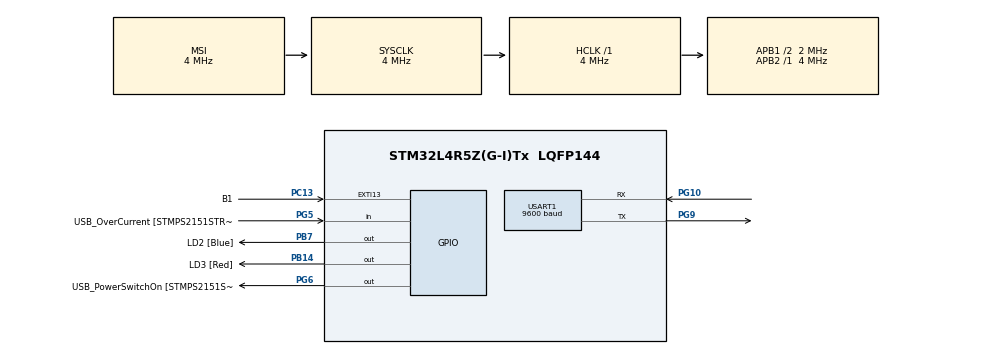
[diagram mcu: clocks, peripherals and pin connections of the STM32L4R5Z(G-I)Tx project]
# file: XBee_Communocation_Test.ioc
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Mcu.Family=STM32L4
Mcu.Name=STM32L4R5Z(G-I)Tx
Mcu.Package=LQFP144
NVIC.PriorityGroup=NVIC_PRIORITYGROUP_4
PA10.GPIO_Label=USB_ID
PA10.Signal=USB_OTG_FS_ID
PA11.GPIO_Label=USB_DM
PA11.Signal=USB_OTG_FS_DM
PA12.GPIO_Label=USB_DP
PA12.Signal=USB_OTG_FS_DP
PA13\ (JTMS/SWDIO).GPIO_Label=TMS
PA13\ (JTMS/SWDIO).Mode=Trace_Asynchronous_SW
PA13\ (JTMS/SWDIO).Signal=SYS_JTMS-SWDIO
PA14\ (JTCK/SWCLK).GPIO_Label=TCK
PA14\ (JTCK/SWCLK).Mode=Trace_Asynchronous_SW
PA14\ (JTCK/SWCLK).Signal=SYS_JTCK-SWCLK
PA8.GPIO_Label=USB_SOF [TP1]
PA8.Signal=USB_OTG_FS_SOF
PA9.GPIO_Label=USB_VBUS
PA9.Signal=USB_OTG_FS_VBUS
PB14.GPIO_Label=LD3 [Red]
PB14.Signal=GPIO_Output
PB3\ (JTDO/TRACESWO).GPIO_Label=SWO
PB3\ (JTDO/TRACESWO).Mode=Trace_Asynchronous_SW
PB3\ (JTDO/TRACESWO).Signal=SYS_JTDO-SWO
PB7.GPIO_Label=LD2 [Blue]
PB7.Signal=GPIO_Output
PC13.GPIO_Label=B1
PC13.Signal=GPXTI13
PC14-OSC32_IN\ (PC14).Mode=LSE-External-Oscillator
PC14-OSC32_IN\ (PC14).Signal=RCC_OSC32_IN
PC15-OSC32_OUT\ (PC15).Mode=LSE-External-Oscillator
PC15-OSC32_OUT\ (PC15).Signal=RCC_OSC32_OUT
PD8.GPIO_Label=STLK_RX [STM32F103CBT6_PA3]
PD8.Signal=USART3_TX
PD9.GPIO_Label=STLK_TX [STM32F103CBT6_PA2]
PD9.Signal=USART3_RX
PG10.Mode=Asynchronous
PG10.Signal=USART1_RX
PG5.GPIO_Label=USB_OverCurrent [STMPS2151STR_FAULT]
PG5.Signal=GPIO_Input
PG6.GPIO_Label=USB_PowerSwitchOn [STMPS2151STR_En]
PG6.Signal=GPIO_Output
PG7.GPIO_Label=STLINK_TX
PG7.Signal=LPUART1_TX
PG8.GPIO_Label=STLINK_RX
PG8.Signal=LPUART1_RX
PG9.Mode=Asynchronous
PG9.Signal=USART1_TX
PH0-OSC_IN\ (PH0).Mode=HSE-External-Clock-Source
PH0-OSC_IN\ (PH0).Signal=RCC_OSC_IN
PH1-OSC_OUT\ (PH1).Signal=RCC_OSC_OUT
ProjectManager.HeapSize=0x200
ProjectManager.StackSize=0x400
ProjectManager.TargetToolchain=STM32CubeIDE
RCC.48MHZClocksFreq_Value=24000000
RCC.AHBFreq_Value=4000000
RCC.APB1CLKDivider=RCC_HCLK_DIV2
RCC.APB1Freq_Value=2000000
RCC.APB1TimFreq_Value=4000000
RCC.APB2Freq_Value=4000000
RCC.APB2TimFreq_Value=4000000
RCC.CortexFreq_Value=4000000
RCC.HCLKFreq_Value=4000000
RCC.HSE_VALUE=8000000
RCC.HSI48_VALUE=48000000
RCC.HSI_VALUE=16000000
RCC.MSI_VALUE=4000000
RCC.PLLMUL=RCC_PLL_MUL9
RCC.PRESCALERUSB=RCC_USBCLKSOURCE_PLL_DIV1_5
RCC.SYSCLKFreq_VALUE=4000000
RCC.SYSCLKSourceVirtual=RCC_SYSCLKSOURCE_PLLCLK
RCC.USBFreq_Value=16000000
RCC.VCOOutputFreq_Value=32000000
USART1.BaudRate=9600
USART1.Mode=MODE_TX_RX
USART1.VirtualMode-Asynchronous=VM_ASYNC
board=NUCLEO-L4R5ZI

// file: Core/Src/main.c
/* USER CODE BEGIN Header */
/**
  ******************************************************************************
  * @file           : main.c
  * @brief          : Main program body
  ******************************************************************************
  * @attention
  *
  * Copyright (c) 2024 STMicroelectronics.
  * All rights reserved.
  *
  * This software is licensed under terms that can be found in the LICENSE file
  * in the root directory of this software component.
  * If no LICENSE file comes with this software, it is provided AS-IS.
  *
  ******************************************************************************
  */
/* USER CODE END Header */
#include "main.h"

UART_HandleTypeDef huart1;

void SystemClock_Config(void);
static void MX_GPIO_Init(void);
static void MX_USART1_UART_Init(void);

int main(void)
{

  /* MCU Configuration--------------------------------------------------------*/

  /* Reset of all peripherals, Initializes the Flash interface and the Systick. */
  HAL_Init();

  /* Configure the system clock */
  SystemClock_Config();

  /* Initialize all configured peripherals */
  MX_GPIO_Init();
  MX_USART1_UART_Init();
  /* USER CODE BEGIN 2 */

  // Start receiving data in interrupt mode
  //HAL_UART_Receive_IT(&huart2, rx_buffer, sizeof(rx_buffer));

  union Float_as_buffer {
	  float f;
	  uint8_t buf[4];
  };

  // X X X X X STOP_BIT START_BIT
  // Start Bit   - Bit 0
  uint8_t               start;

  // Actual Guitar Frequency Calculated from Piezo
  //union Float_as_buffer actual_guitar_freq;
  union Float_as_buffer actual_guitar_freq;

  // Frequency of closest string
  uint16_t               key = 0xFFFF;

  // Starting out with stuff
  start = 0b1;
  actual_guitar_freq.f = 426.23;

  /* USER CODE END 2 */

  /* Infinite loop */
  /* USER CODE BEGIN WHILE */
  while (1)
  {

	  // Transmit the string message
	  for (int i = 0; i < 3; ++i) {
		  HAL_UART_Transmit(&huart1, &key,                 2, HAL_MAX_DELAY);
		  HAL_UART_Transmit(&huart1, &start,               1, HAL_MAX_DELAY);
		  HAL_UART_Transmit(&huart1, &actual_guitar_freq,  4, HAL_MAX_DELAY);
	  }
	  ++actual_guitar_freq.f;

	  // Delay between messages
	  HAL_Delay(5000); // One second delay

    /* USER CODE END WHILE */

  }
}

void SystemClock_Config(void)
{
  RCC_OscInitTypeDef RCC_OscInitStruct = {0};
  RCC_ClkInitTypeDef RCC_ClkInitStruct = {0};

  /** Configure the main internal regulator output voltage
  */
  if (HAL_PWREx_ControlVoltageScaling(PWR_REGULATOR_VOLTAGE_SCALE1) != HAL_OK)
  {
    Error_Handler();
  }

  /** Initializes the RCC Oscillators according to the specified parameters
  * in the RCC_OscInitTypeDef structure.
  */
  RCC_OscInitStruct.OscillatorType = RCC_OSCILLATORTYPE_MSI;
  RCC_OscInitStruct.MSIState = RCC_MSI_ON;
  RCC_OscInitStruct.MSICalibrationValue = 0;
  RCC_OscInitStruct.MSIClockRange = RCC_MSIRANGE_6;
  RCC_OscInitStruct.PLL.PLLState = RCC_PLL_NONE;
  if (HAL_RCC_OscConfig(&RCC_OscInitStruct) != HAL_OK)
  {
    Error_Handler();
  }

  /** Initializes the CPU, AHB and APB buses clocks
  */
  RCC_ClkInitStruct.ClockType = RCC_CLOCKTYPE_HCLK|RCC_CLOCKTYPE_SYSCLK
                              |RCC_CLOCKTYPE_PCLK1|RCC_CLOCKTYPE_PCLK2;
  RCC_ClkInitStruct.SYSCLKSource = RCC_SYSCLKSOURCE_MSI;
  RCC_ClkInitStruct.AHBCLKDivider = RCC_SYSCLK_DIV1;
  RCC_ClkInitStruct.APB1CLKDivider = RCC_HCLK_DIV2;
  RCC_ClkInitStruct.APB2CLKDivider = RCC_HCLK_DIV1;

  if (HAL_RCC_ClockConfig(&RCC_ClkInitStruct, FLASH_LATENCY_0) != HAL_OK)
  {
    Error_Handler();
  }
}

static void MX_USART1_UART_Init(void)
{

  huart1.Instance = USART1;
  huart1.Init.BaudRate = 9600;
  huart1.Init.WordLength = UART_WORDLENGTH_8B;
  huart1.Init.StopBits = UART_STOPBITS_1;
  huart1.Init.Parity = UART_PARITY_NONE;
  huart1.Init.Mode = UART_MODE_TX_RX;
  huart1.Init.HwFlowCtl = UART_HWCONTROL_NONE;
  huart1.Init.OverSampling = UART_OVERSAMPLING_16;
  huart1.Init.OneBitSampling = UART_ONE_BIT_SAMPLE_DISABLE;
  huart1.Init.ClockPrescaler = UART_PRESCALER_DIV1;
  huart1.AdvancedInit.AdvFeatureInit = UART_ADVFEATURE_NO_INIT;
  if (HAL_UART_Init(&huart1) != HAL_OK)
  {
    Error_Handler();
  }
  if (HAL_UARTEx_SetTxFifoThreshold(&huart1, UART_TXFIFO_THRESHOLD_1_8) != HAL_OK)
  {
    Error_Handler();
  }
  if (HAL_UARTEx_SetRxFifoThreshold(&huart1, UART_RXFIFO_THRESHOLD_1_8) != HAL_OK)
  {
    Error_Handler();
  }
  if (HAL_UARTEx_DisableFifoMode(&huart1) != HAL_OK)
  {
    Error_Handler();
  }

}

static void MX_GPIO_Init(void)
{
  GPIO_InitTypeDef GPIO_InitStruct = {0};

  /* GPIO Ports Clock Enable */
  __HAL_RCC_GPIOC_CLK_ENABLE();
  __HAL_RCC_GPIOH_CLK_ENABLE();
  __HAL_RCC_GPIOB_CLK_ENABLE();
  __HAL_RCC_GPIOD_CLK_ENABLE();
  __HAL_RCC_GPIOG_CLK_ENABLE();
  HAL_PWREx_EnableVddIO2();
  __HAL_RCC_GPIOA_CLK_ENABLE();

  /*Configure GPIO pin Output Level */
  HAL_GPIO_WritePin(GPIOB, LD3_Pin|LD2_Pin, GPIO_PIN_RESET);

  /*Configure GPIO pin Output Level */
  HAL_GPIO_WritePin(USB_PowerSwitchOn_GPIO_Port, USB_PowerSwitchOn_Pin, GPIO_PIN_RESET);

  /*Configure GPIO pin : B1_Pin */
  GPIO_InitStruct.Pin = B1_Pin;
  GPIO_InitStruct.Mode = GPIO_MODE_IT_RISING;
  GPIO_InitStruct.Pull = GPIO_NOPULL;
  HAL_GPIO_Init(B1_GPIO_Port, &GPIO_InitStruct);

  /*Configure GPIO pins : LD3_Pin LD2_Pin */
  GPIO_InitStruct.Pin = LD3_Pin|LD2_Pin;
  GPIO_InitStruct.Mode = GPIO_MODE_OUTPUT_PP;
  GPIO_InitStruct.Pull = GPIO_NOPULL;
  GPIO_InitStruct.Speed = GPIO_SPEED_FREQ_LOW;
  HAL_GPIO_Init(GPIOB, &GPIO_InitStruct);

  /*Configure GPIO pins : STLK_RX_Pin STLK_TX_Pin */
  GPIO_InitStruct.Pin = STLK_RX_Pin|STLK_TX_Pin;
  GPIO_InitStruct.Mode = GPIO_MODE_AF_PP;
  GPIO_InitStruct.Pull = GPIO_NOPULL;
  GPIO_InitStruct.Speed = GPIO_SPEED_FREQ_VERY_HIGH;
  GPIO_InitStruct.Alternate = GPIO_AF7_USART3;
  HAL_GPIO_Init(GPIOD, &GPIO_InitStruct);

  /*Configure GPIO pin : USB_OverCurrent_Pin */
  GPIO_InitStruct.Pin = USB_OverCurrent_Pin;
  GPIO_InitStruct.Mode = GPIO_MODE_INPUT;
  GPIO_InitStruct.Pull = GPIO_NOPULL;
  HAL_GPIO_Init(USB_OverCurrent_GPIO_Port, &GPIO_InitStruct);

  /*Configure GPIO pin : USB_PowerSwitchOn_Pin */
  GPIO_InitStruct.Pin = USB_PowerSwitchOn_Pin;
  GPIO_InitStruct.Mode = GPIO_MODE_OUTPUT_PP;
  GPIO_InitStruct.Pull = GPIO_NOPULL;
  GPIO_InitStruct.Speed = GPIO_SPEED_FREQ_LOW;
  HAL_GPIO_Init(USB_PowerSwitchOn_GPIO_Port, &GPIO_InitStruct);

  /*Configure GPIO pins : STLINK_TX_Pin STLINK_RX_Pin */
  GPIO_InitStruct.Pin = STLINK_TX_Pin|STLINK_RX_Pin;
  GPIO_InitStruct.Mode = GPIO_MODE_AF_PP;
  GPIO_InitStruct.Pull = GPIO_NOPULL;
  GPIO_InitStruct.Speed = GPIO_SPEED_FREQ_VERY_HIGH;
  GPIO_InitStruct.Alternate = GPIO_AF8_LPUART1;
  HAL_GPIO_Init(GPIOG, &GPIO_InitStruct);

  /*Configure GPIO pins : USB_SOF_Pin USB_ID_Pin USB_DM_Pin USB_DP_Pin */
  GPIO_InitStruct.Pin = USB_SOF_Pin|USB_ID_Pin|USB_DM_Pin|USB_DP_Pin;
  GPIO_InitStruct.Mode = GPIO_MODE_AF_PP;
  GPIO_InitStruct.Pull = GPIO_NOPULL;
  GPIO_InitStruct.Speed = GPIO_SPEED_FREQ_VERY_HIGH;
  GPIO_InitStruct.Alternate = GPIO_AF10_OTG_FS;
  HAL_GPIO_Init(GPIOA, &GPIO_InitStruct);

  /*Configure GPIO pin : USB_VBUS_Pin */
  GPIO_InitStruct.Pin = USB_VBUS_Pin;
  GPIO_InitStruct.Mode = GPIO_MODE_INPUT;
  GPIO_InitStruct.Pull = GPIO_NOPULL;
  HAL_GPIO_Init(USB_VBUS_GPIO_Port, &GPIO_InitStruct);

}

/* USER CODE BEGIN 4 */
//void HAL_UART_RxCpltCallback(UART_HandleTypeDef *huart)
//{
//    // Process data: rx_buffer contains the received data
//	process_data(rx_buffer, sizeof(rx_buffer));
//
//	// Ready to receive the next piece of data
//	HAL_UART_Receive_IT(&huart2, rx_buffer, sizeof(rx_buffer));
//}
//
//void process_data(uint8_t * rx_buf, uint8_t buf_sz) {
//	char valid_char = rx_buf[0];
//	uint8_t flag_check = rx_buf[1];
//	uint32_t actual_freq_check = {rx_buf[5], rx_buf[4], rx_buf[3], rx_buf[2]};
//	char detected_str = rx_buf[6];
//	uint32_t other_check = {rx_buf[10], rx_buf[9], rx_buf[8], rx_buf[7]};
//
//	char hi = 'h';
//}

/* USER CODE END 4 */

void Error_Handler(void)
{
  __disable_irq();
  while (1)
  {
  }
}
